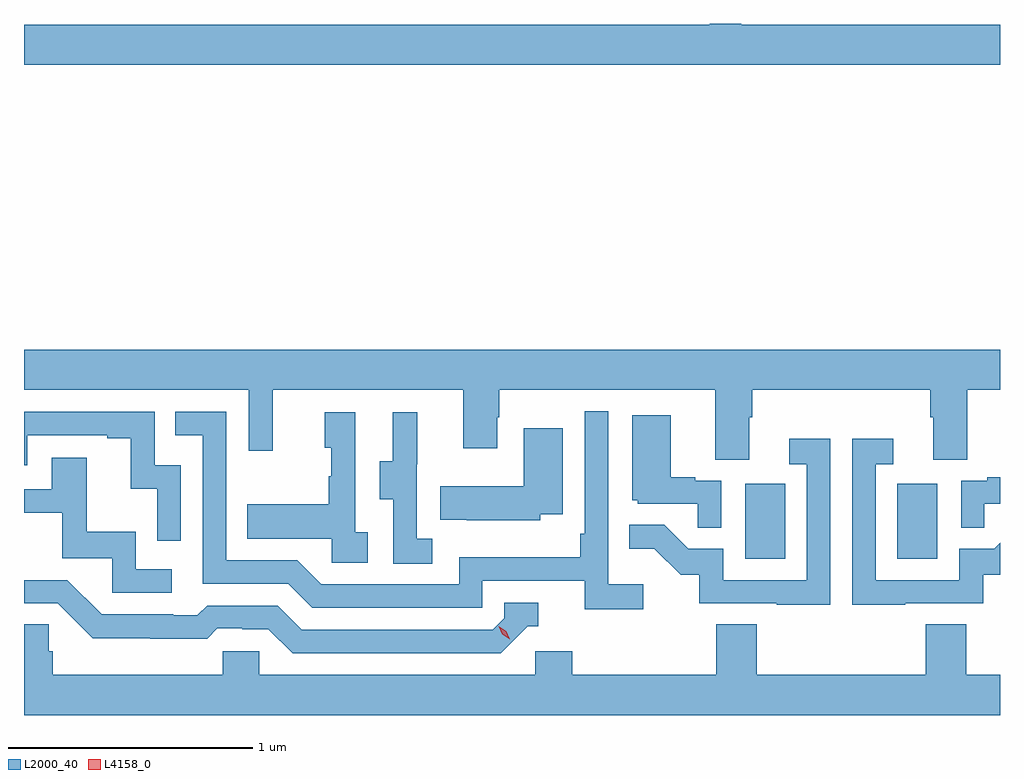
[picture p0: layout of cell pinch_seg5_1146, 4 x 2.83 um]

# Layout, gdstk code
import gdstk
lib = gdstk.Library(unit=1e-6, precision=1e-09)
def R(c, l, rs):  # rectangles x0, y0, x1, y1
    for r in rs: c.add(gdstk.rectangle(r[:2], r[2:], *l))
def P(c, l, *ps):  # polygons
    for p in ps: c.add(gdstk.Polygon(p, *l))
L2000_40 = (2000, 40)
L4158_0 = (4158, 0)

pinch_seg5_1146 = lib.new_cell('pinch_seg5_1146')
R(pinch_seg5_1146, L2000_40, [(868.214,850.74,868.378,851.047), (868.838,850.74,869.002,851.047)])
P(pinch_seg5_1146, L2000_40, [(869.259,852.928),(868.198,852.928),(868.198,852.932),(868.069,852.932),(868.069,852.928),(865.259,852.928),(865.259,852.764),(869.259,852.764)],
  [(868.231,851.32),(868.244,851.32),(868.244,851.432),(868.973,851.432),(868.973,851.32),(868.985,851.32),(868.985,851.146),(869.125,851.146),(869.125,851.432),(869.259,851.432),(869.259,851.596),(865.259,851.596),(865.259,851.432),(866.181,851.432),(866.181,851.184),(866.279,851.184),(866.279,851.432),(867.059,851.432),(867.059,851.193),(867.199,851.193),(867.199,851.321),(867.207,851.321),(867.207,851.432),(868.091,851.432),(868.091,851.146),(868.231,851.146)],
  [(867.796,850.636),(867.654,850.636),(867.654,851.344),(867.558,851.344),(867.558,850.843),(867.538,850.843),(867.538,850.747),(867.042,850.747),(867.042,850.635),(866.478,850.635),(866.379,850.734),(866.088,850.734),(866.088,851.343),(865.879,851.343),(865.879,851.247),(865.992,851.247),(865.992,850.638),(866.342,850.638),(866.441,850.539),(867.138,850.539),(867.138,850.65),(867.557,850.65),(867.557,850.534),(867.796,850.534)],
  [(865.902,851.124),(865.794,851.124),(865.794,851.343),(865.259,851.343),(865.259,851.124),(865.272,851.124),(865.272,851.247),(865.601,851.247),(865.601,851.235),(865.697,851.235),(865.697,851.027),(865.806,851.027),(865.806,850.815),(865.902,850.815)],
  [(866.668,850.85),(866.616,850.85),(866.616,851.341),(866.492,851.341),(866.492,851.196),(866.518,851.196),(866.518,851.078),(866.508,851.078),(866.508,850.963),(866.173,850.963),(866.173,850.823),(866.52,850.823),(866.52,850.725),(866.668,850.725)],
  [(866.932,850.823),(866.868,850.823),(866.868,851.127),(866.87,851.127),(866.87,851.341),(866.771,851.341),(866.771,851.139),(866.717,851.139),(866.717,850.984),(866.772,850.984),(866.772,850.72),(866.932,850.72)],
  [(868.116,851.061),(868.01,851.061),(868.01,851.074),(867.91,851.074),(867.91,851.329),(867.752,851.329),(867.752,850.98),(867.774,850.98),(867.774,850.965),(868.021,850.965),(868.021,850.867),(868.116,850.867)],
  [(867.375,850.922),(867.466,850.922),(867.466,851.275),(867.308,851.275),(867.308,851.038),(866.965,851.038),(866.965,850.901),(867.073,850.901),(867.073,850.898),(867.375,850.898)],
  [(868.871,850.557),(869.19,850.557),(869.19,850.674),(869.259,850.674),(869.259,850.806),(869.235,850.782),(869.091,850.782),(869.091,850.653),(868.749,850.653),(868.749,851.127),(868.822,851.127),(868.822,851.233),(868.653,851.233),(868.653,850.552),(868.871,850.552)],
  [(868.563,851.233),(868.395,851.233),(868.395,851.127),(868.467,851.127),(868.467,850.653),(868.125,850.653),(868.125,850.782),(867.981,850.782),(867.883,850.88),(867.739,850.88),(867.739,850.781),(867.843,850.781),(867.95,850.674),(868.027,850.674),(868.027,850.557),(868.345,850.557),(868.345,850.552),(868.563,850.552)],
  [(865.864,850.698),(865.716,850.698),(865.716,850.852),(865.517,850.852),(865.517,851.155),(865.373,851.155),(865.373,851.025),(865.259,851.025),(865.259,850.929),(865.415,850.929),(865.415,850.743),(865.62,850.743),(865.62,850.602),(865.864,850.602)],
  [(869.195,850.965),(869.259,850.965),(869.259,851.074),(869.207,851.074),(869.207,851.061),(869.1,851.061),(869.1,850.867),(869.195,850.867)],
  [(867.324,850.464),(867.367,850.464),(867.367,850.56),(867.228,850.56),(867.228,850.497),(867.18,850.449),(866.397,850.449),(866.298,850.548),(866.009,850.548),(865.97,850.509),(865.871,850.509),(865.871,850.512),(865.578,850.512),(865.437,850.653),(865.259,850.653),(865.259,850.557),(865.398,850.557),(865.54,850.415),(865.776,850.415),(865.776,850.413),(866.009,850.413),(866.051,850.455),(866.154,850.455),(866.154,850.452),(866.261,850.452),(866.36,850.353),(867.213,850.353)],
  [(869.259,850.264),(869.12,850.264),(869.12,850.472),(868.955,850.472),(868.955,850.264),(868.262,850.264),(868.262,850.472),(868.097,850.472),(868.097,850.264),(867.506,850.264),(867.506,850.362),(867.354,850.362),(867.354,850.264),(866.223,850.264),(866.223,850.362),(866.073,850.362),(866.073,850.264),(865.376,850.264),(865.376,850.362),(865.361,850.362),(865.361,850.472),(865.259,850.472),(865.259,850.1),(869.259,850.1)])
P(pinch_seg5_1146, L4158_0, [(867.249,850.41),(867.219,850.43),(867.204,850.463),(867.204,850.463),(867.205,850.463),(867.235,850.443),(867.25,850.41),(867.25,850.41)])

lib.write_gds('pinch_seg5_1146.gds')
